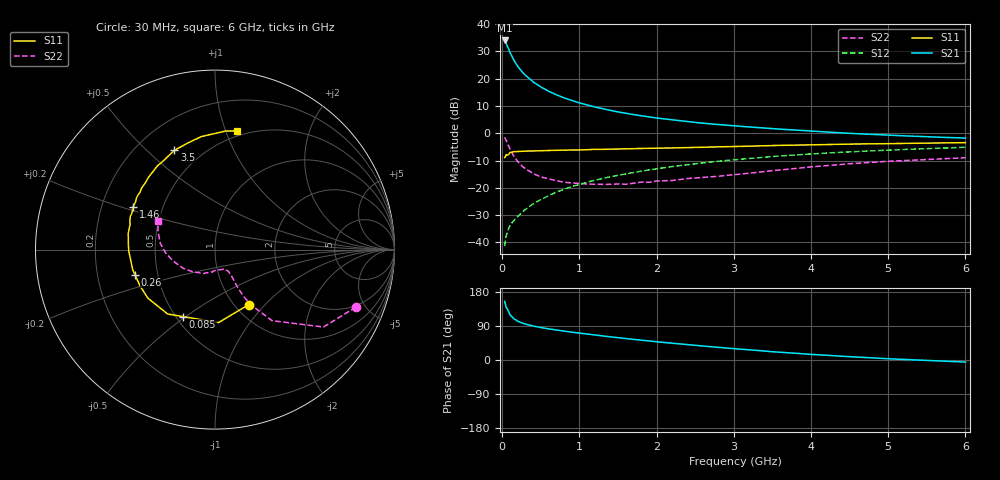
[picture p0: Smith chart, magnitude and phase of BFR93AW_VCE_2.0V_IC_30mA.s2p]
! Infineon Technologies  Discrete & RF Semiconductors
! BFR93AW
! VCE =  2.0 V,  IC =  30 mA
! Common Emitter S-Parameters:  Nov 2015
# GHz  S  MA  R  50
!  f  S11  S21  S12  S22
! GHz  MAG  ANG  MAG  ANG  MAG  ANG  MAG  ANG
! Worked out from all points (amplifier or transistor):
!   206 points, 30 MHz to 6 GHz, reference 50 ohm
!   highest |S21| = 34.0 dB at 30 MHz (marker M1)
!   |S21| within 3 dB of that: start of sweep to 78.8 MHz
!   unconditionally stable (mu >= 1): 430.6 MHz to 2.349 GHz
!   at 200 MHz: K = 0.83, MSG = 27.5 dB, |S12| = -30.5 dB
!   at 1.56 GHz: K = 1.04, MAG = 10.0 dB, |S12| = -15.1 dB
!   at 6 GHz: K = 0.94, MSG = 1.7 dB, |S12| = -5.1 dB
!   S11 on the Smith chart (normalised r, x): 30 MHz: 1.16, -0.81; 85 MHz: 0.54, -0.49; 260 MHz: 0.37, -0.13; 1.46 GHz: 0.34, +0.22; 3.5 GHz: 0.36, +0.61; 6 GHz: 0.46, +1.10
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0.03  0.3595 -58.4  50.35 154.8  0.0085 73.2  0.8478 -22.2
0.05  0.4071 -87.2  44.51 139.1  0.0132 67.8  0.7427 -35.5
0.085  0.4137 -115.6  33.92 126.6  0.0182 62.3  0.5733 -45.2
0.1  0.4453 -126.3  30.11 118.8  0.0204 60.8  0.508 -51.2
0.15  0.4615 -144.1  21.69 108.5  0.0251 61.4  0.376 -56.5
0.2  0.4641 -154.1  16.85 102.3  0.0298 63.9  0.3031 -58.7
0.24  0.4656 -160.1  14.31 98.9  0.0336 65.8  0.2626 -59.0
0.26  0.4676 -162.6  13.24 97.3  0.0357 66.5  0.2467 -59.1
0.3  0.472 -166.4  11.52 94.6  0.0401 67.7  0.2233 -59.0
0.4  0.4735 -173.7  8.723 89.5  0.0508 69.9  0.1822 -57.9
0.5  0.4807 -179.1  7.038 85.5  0.0609 71.1  0.1581 -58.2
0.6  0.4836 177.0  5.892 82.2  0.0719 71.5  0.1449 -58.1
0.7  0.486 173.1  5.084 79.0  0.0831 71.7  0.1356 -59.5
0.8  0.4918 169.7  4.457 76.1  0.0936 71.6  0.1262 -62.5
1.04  0.4963 162.6  3.474 69.8  0.1201 70.6  0.1185 -68.4
1.46  0.5137 152.6  2.527 59.8  0.1655 67.7  0.1171 -84.5
2.02  0.5336 139.8  1.891 47.7  0.2254 62.8  0.1335 -105.0
3.1  0.5749 119.1  1.336 28.4  0.3353 51.6  0.1792 -137.6
3.5  0.5978 112.2  1.216 21.8  0.3743 47.3  0.2062 -149.8
4.1  0.6169 102.5  1.074 13.7  0.4254 40.4  0.2482 -167.4
5.1  0.6482 89.5  0.911 2.4  0.4977 29.5  0.3104 171.4
6  0.6726 79.3  0.817 -5.4  0.5537 20.4  0.3559 153.7
